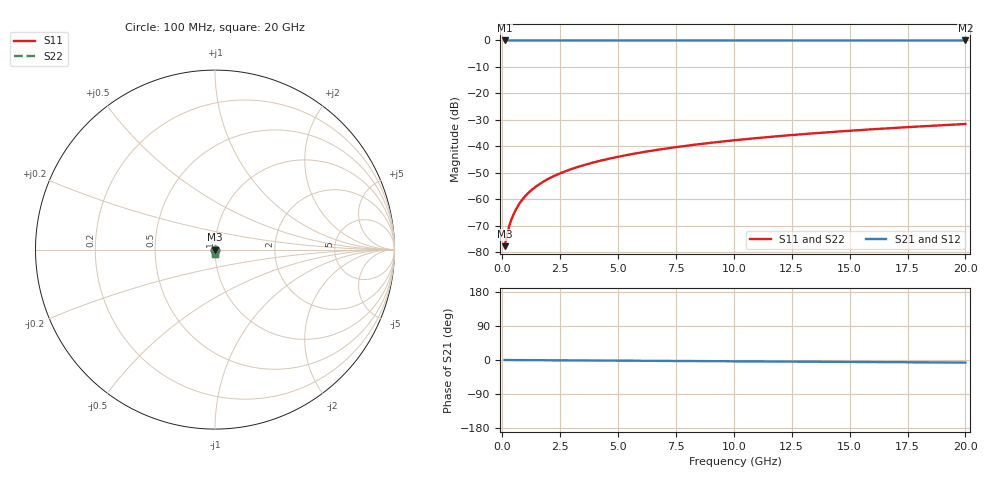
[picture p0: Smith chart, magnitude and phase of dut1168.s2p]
! Touchstone file exported from HFSS 2026.1.0
!  File:  C:/ffzhzh/LocalFiles/Ansys_Project_Files/temp_train_TSV_1168_1783191930_22436.aedt
!  Generated:  03:06:45 AM Jul  5, 2026
!  Design:  TSV
!  Project:  temp_train_TSV_1168_1783191930_22436
! Variables:
!  h_bsmrdl = 2um
!  h_ox = 20um
!  h_rdl = 5um
!  h_sub = 66.81um
!  h_tmrdl = 5um
!  h_tsv = 66.81um
!  h_via = 3um
!  l_bsmrdl = 300um
!  l_sub = 423.54um
!  l_tmrdl = 200um
!  m_sub = 200um
!  pitch = 38.23um
!  r_tsv = 11.77um
!  s_tmrdl = 10um
!  w_bsmrdl = 18um
!  w_sub = 500um
!  w_tmrdl = 12um
!  x_tsv_center1 = 206um
!  x_tsv_center2 = 524um
!  x_tsv_center3 = 736um
!  x_tsv_center4 = 1054um
!  x_tsv_center5 = 1266um
!  x_tsv_center6 = 1584um
# GHz S MA R 50.000000
! Terminal data exported
! Port[1] = TSV1_1_T1
! Port[2] = TSV1_1_T2
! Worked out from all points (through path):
!   200 points, 100 MHz to 20 GHz, reference 50 ohm
!   highest |S21| = 0.00 dB at 100 MHz (marker M1); lowest = 0.0 dB at 20 GHz (marker M2)
!   lowest |S11| = -77.7 dB at 100 MHz (marker M3), VSWR 1.00, Z = 50 - j0.00934 ohm
!   |S11| at or under -10 dB: start of sweep to end of sweep
!   |S22| runs from -77.7 to -31.5 dB; largest |S21 - S12| = 3.2e-15
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0.1  0.0001309 -45.5  0.9999 -0.0  0.9999 -0.0  0.0001309 -45.5
! Gamma 0 0 0 0
! Port Impedance 50 0 50 0
0.2  0.0002163 -61.4  0.9999 -0.1  0.9999 -0.1  0.0002163 -61.4
0.3  0.0003158 -67.5  0.9999 -0.1  0.9999 -0.1  0.0003158 -67.5
0.4  0.000424 -70.5  0.9999 -0.1  0.9999 -0.1  0.000424 -70.5
0.5  0.0005386 -72.4  0.9998 -0.2  0.9998 -0.2  0.0005386 -72.4
0.6  0.0006582 -73.8  0.9998 -0.2  0.9998 -0.2  0.0006582 -73.8
0.8  0.0009069 -76.0  0.9998 -0.3  0.9998 -0.3  0.0009069 -76.0
1.1  0.001291 -78.4  0.9997 -0.4  0.9997 -0.4  0.001291 -78.4
1.3  0.001549 -79.7  0.9997 -0.5  0.9997 -0.5  0.001549 -79.7
1.5  0.001808 -80.7  0.9997 -0.5  0.9997 -0.5  0.001808 -80.7
1.8  0.002197 -81.9  0.9997 -0.6  0.9997 -0.6  0.002197 -81.9
2.1  0.002585 -82.9  0.9996 -0.7  0.9996 -0.7  0.002585 -82.9
2.7  0.003363 -84.3  0.9996 -0.9  0.9996 -0.9  0.003363 -84.3
3.5  0.004404 -85.5  0.9996 -1.2  0.9996 -1.2  0.004404 -85.5
4.2  0.00532 -86.3  0.9995 -1.4  0.9995 -1.4  0.00532 -86.3
5  0.006373 -87.0  0.9995 -1.7  0.9995 -1.7  0.006373 -87.0
6.8  0.008759 -88.3  0.9993 -2.3  0.9993 -2.3  0.008759 -88.3
8.3  0.01076 -89.2  0.9993 -2.8  0.9993 -2.8  0.01076 -89.2
10.1  0.01317 -90.2  0.9992 -3.4  0.9992 -3.4  0.01317 -90.2
13.4  0.01759 -91.7  0.999 -4.6  0.999 -4.6  0.01759 -91.7
16.7  0.02203 -93.2  0.9988 -5.7  0.9988 -5.7  0.02203 -93.2
20  0.02647 -94.5  0.9986 -6.8  0.9986 -6.8  0.02647 -94.5
